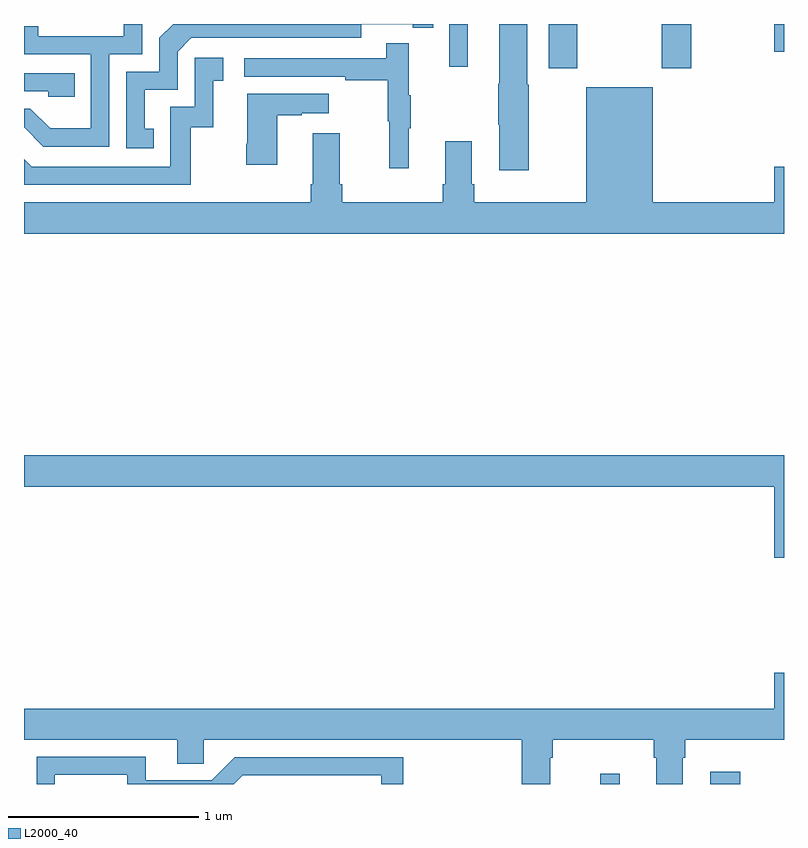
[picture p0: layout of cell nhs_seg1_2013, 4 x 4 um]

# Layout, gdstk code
import gdstk
lib = gdstk.Library(unit=1e-6, precision=1e-09)
def R(c, l, rs):  # rectangles x0, y0, x1, y1
    for r in rs: c.add(gdstk.rectangle(r[:2], r[2:], *l))
def P(c, l, *ps):  # polygons
    for p in ps: c.add(gdstk.Polygon(p, *l))
L2000_40 = (2000, 40)

nhs_seg1_2013 = lib.new_cell('nhs_seg1_2013')
R(nhs_seg1_2013, L2000_40, [(224.032,518.199,224.135,518.254), (224.612,518.199,224.771,518.263), (223.763,521.967,223.911,522.199), (224.356,521.967,224.511,522.199), (223.239,521.973,223.336,522.199), (224.948,522.054,225,522.199)])
P(nhs_seg1_2013, L2000_40, [(223.656,521.879),(223.648,521.879),(223.648,522.199),(223.502,522.199),(223.502,521.885),(223.495,521.885),(223.495,521.668),(223.502,521.668),(223.502,521.43),(223.656,521.43)],
  [(221.684,521.649),(221.635,521.649),(221.635,521.853),(221.808,521.853),(221.808,522.054),(221.88,522.126),(222.774,522.126),(222.774,522.198),(223.046,522.198),(223.046,522.178),(223.154,522.178),(223.154,522.199),(221.785,522.199),(221.712,522.126),(221.712,521.949),(221.538,521.949),(221.538,521.544),(221.684,521.544)],
  [(221.448,522.039),(221.622,522.039),(221.622,522.199),(221.525,522.199),(221.525,522.135),(221.074,522.135),(221.074,522.187),(221,522.187),(221,522.039),(221.352,522.039),(221.352,521.65),(221.138,521.65),(221.034,521.754),(221,521.754),(221,521.655),(221.102,521.553),(221.448,521.553)],
  [(223.025,521.651),(223.036,521.651),(223.036,521.825),(223.025,521.825),(223.025,522.097),(222.907,522.097),(222.907,522.018),(222.159,522.018),(222.159,521.922),(222.691,521.922),(222.691,521.902),(222.915,521.902),(222.915,521.688),(222.922,521.688),(222.922,521.439),(223.025,521.439)],
  [(221.878,521.655),(221.996,521.655),(221.996,521.901),(222.049,521.901),(222.049,522.022),(221.898,522.022),(221.898,521.763),(221.769,521.763),(221.769,521.448),(221.04,521.448),(221,521.488),(221,521.352),(221.878,521.352)],
  [(221.267,521.94),(221,521.94),(221,521.844),(221.127,521.844),(221.127,521.817),(221.267,521.817)],
  [(225,521.449),(224.948,521.449),(224.948,521.26),(224.308,521.26),(224.308,521.866),(223.958,521.866),(223.958,521.26),(223.37,521.26),(223.37,521.356),(223.357,521.356),(223.357,521.581),(223.217,521.581),(223.217,521.356),(223.205,521.356),(223.205,521.26),(222.674,521.26),(222.674,521.356),(222.661,521.356),(222.661,521.623),(222.521,521.623),(222.521,521.356),(222.509,521.356),(222.509,521.26),(221,521.26),(221,521.096),(225,521.096)],
  [(222.334,521.719),(222.461,521.719),(222.461,521.729),(222.604,521.729),(222.604,521.833),(222.176,521.833),(222.176,521.569),(222.169,521.569),(222.169,521.457),(222.334,521.457)],
  [(225,519.928),(221,519.928),(221,519.764),(224.948,519.764),(224.948,519.39),(225,519.39)],
  [(223.771,518.336),(223.784,518.336),(223.784,518.432),(224.315,518.432),(224.315,518.336),(224.327,518.336),(224.327,518.199),(224.467,518.199),(224.467,518.336),(224.48,518.336),(224.48,518.432),(225,518.432),(225,518.785),(224.948,518.785),(224.948,518.596),(221,518.596),(221,518.432),(221.807,518.432),(221.807,518.305),(221.946,518.305),(221.946,518.432),(223.619,518.432),(223.619,518.199),(223.771,518.199)],
  [(221.163,518.247),(221.544,518.247),(221.544,518.199),(222.105,518.199),(222.15,518.244),(222.879,518.244),(222.879,518.199),(222.995,518.199),(222.995,518.34),(222.108,518.34),(221.988,518.22),(221.641,518.22),(221.641,518.343),(221.067,518.343),(221.067,518.199),(221.163,518.199)])

lib.write_gds('nhs_seg1_2013.gds')
